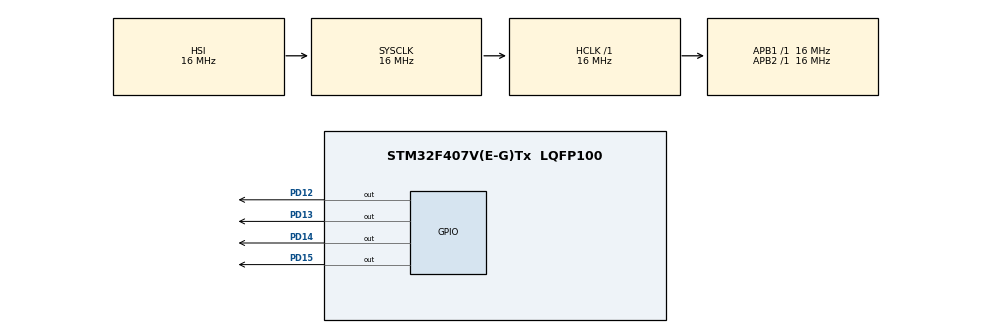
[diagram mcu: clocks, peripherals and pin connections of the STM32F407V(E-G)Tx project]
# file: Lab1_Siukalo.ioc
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Mcu.Family=STM32F4
Mcu.Name=STM32F407V(E-G)Tx
Mcu.Package=LQFP100
NVIC.PriorityGroup=NVIC_PRIORITYGROUP_4
PD12.Signal=GPIO_Output
PD13.Signal=GPIO_Output
PD14.Signal=GPIO_Output
PD15.Signal=GPIO_Output
ProjectManager.HeapSize=0x200
ProjectManager.StackSize=0x400
ProjectManager.TargetToolchain=STM32CubeIDE
RCC.AHBFreq_Value=16000000
RCC.APB1Freq_Value=16000000
RCC.APB2Freq_Value=16000000
RCC.CortexFreq_Value=16000000
RCC.HSE_VALUE=25000000
RCC.HSI_VALUE=16000000
RCC.LSE_VALUE=32768
RCC.SYSCLKFreq_VALUE=16000000
RCC.VCOOutputFreq_Value=192000000
board=custom

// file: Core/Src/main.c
/* USER CODE BEGIN Header */
/**
  ******************************************************************************
  * @file           : main.c
  * @brief          : Main program body
  ******************************************************************************
  * @attention
  *
  * Copyright (c) 2025 STMicroelectronics.
  * All rights reserved.
  *
  * This software is licensed under terms that can be found in the LICENSE file
  * in the root directory of this software component.
  * If no LICENSE file comes with this software, it is provided AS-IS.
  *
  ******************************************************************************
  */
/* USER CODE END Header */
#include "main.h"

void SystemClock_Config(void);
static void MX_GPIO_Init(void);

int main(void)
{

  /* MCU Configuration--------------------------------------------------------*/

  /* Reset of all peripherals, Initializes the Flash interface and the Systick. */
  HAL_Init();

  /* Configure the system clock */
  SystemClock_Config();

  /* Initialize all configured peripherals */
  MX_GPIO_Init();

  /* Infinite loop */
  while (1)
  {

    /* USER CODE BEGIN 3 */
		HAL_GPIO_WritePin(GPIOD, GPIO_PIN_12, GPIO_PIN_SET);
		HAL_Delay(150);
		HAL_GPIO_WritePin(GPIOD, GPIO_PIN_13, GPIO_PIN_SET);
		HAL_Delay(150);
		HAL_GPIO_WritePin(GPIOD, GPIO_PIN_14, GPIO_PIN_SET);
		HAL_Delay(150);
		HAL_GPIO_WritePin(GPIOD, GPIO_PIN_15, GPIO_PIN_SET);
		HAL_Delay(150);
		HAL_GPIO_WritePin(GPIOD, GPIO_PIN_12 | GPIO_PIN_13 | GPIO_PIN_14 | GPIO_PIN_15,GPIO_PIN_RESET);
		HAL_Delay(200);

		for (int i = 0; i < 3; i++) {
			HAL_GPIO_WritePin(GPIOD,GPIO_PIN_12 | GPIO_PIN_13 | GPIO_PIN_14 | GPIO_PIN_15,GPIO_PIN_SET);
			HAL_Delay(200);
			HAL_GPIO_WritePin(GPIOD,GPIO_PIN_12 | GPIO_PIN_13 | GPIO_PIN_14 | GPIO_PIN_15, GPIO_PIN_RESET);
			HAL_Delay(200);
		}
  }
  /* USER CODE END 3 */
}

void SystemClock_Config(void)
{
  RCC_OscInitTypeDef RCC_OscInitStruct = {0};
  RCC_ClkInitTypeDef RCC_ClkInitStruct = {0};

  /** Configure the main internal regulator output voltage
  */
  __HAL_RCC_PWR_CLK_ENABLE();
  __HAL_PWR_VOLTAGESCALING_CONFIG(PWR_REGULATOR_VOLTAGE_SCALE1);

  /** Initializes the RCC Oscillators according to the specified parameters
  * in the RCC_OscInitTypeDef structure.
  */
  RCC_OscInitStruct.OscillatorType = RCC_OSCILLATORTYPE_HSI;
  RCC_OscInitStruct.HSIState = RCC_HSI_ON;
  RCC_OscInitStruct.HSICalibrationValue = RCC_HSICALIBRATION_DEFAULT;
  RCC_OscInitStruct.PLL.PLLState = RCC_PLL_NONE;
  if (HAL_RCC_OscConfig(&RCC_OscInitStruct) != HAL_OK)
  {
    Error_Handler();
  }

  /** Initializes the CPU, AHB and APB buses clocks
  */
  RCC_ClkInitStruct.ClockType = RCC_CLOCKTYPE_HCLK|RCC_CLOCKTYPE_SYSCLK
                              |RCC_CLOCKTYPE_PCLK1|RCC_CLOCKTYPE_PCLK2;
  RCC_ClkInitStruct.SYSCLKSource = RCC_SYSCLKSOURCE_HSI;
  RCC_ClkInitStruct.AHBCLKDivider = RCC_SYSCLK_DIV1;
  RCC_ClkInitStruct.APB1CLKDivider = RCC_HCLK_DIV1;
  RCC_ClkInitStruct.APB2CLKDivider = RCC_HCLK_DIV1;

  if (HAL_RCC_ClockConfig(&RCC_ClkInitStruct, FLASH_LATENCY_0) != HAL_OK)
  {
    Error_Handler();
  }
}

static void MX_GPIO_Init(void)
{
  GPIO_InitTypeDef GPIO_InitStruct = {0};

  /* GPIO Ports Clock Enable */
  __HAL_RCC_GPIOD_CLK_ENABLE();

  /*Configure GPIO pin Output Level */
  HAL_GPIO_WritePin(GPIOD, GPIO_PIN_12|GPIO_PIN_13|GPIO_PIN_14|GPIO_PIN_15, GPIO_PIN_RESET);

  /*Configure GPIO pins : PD12 PD13 PD14 PD15 */
  GPIO_InitStruct.Pin = GPIO_PIN_12|GPIO_PIN_13|GPIO_PIN_14|GPIO_PIN_15;
  GPIO_InitStruct.Mode = GPIO_MODE_OUTPUT_PP;
  GPIO_InitStruct.Pull = GPIO_NOPULL;
  GPIO_InitStruct.Speed = GPIO_SPEED_FREQ_LOW;
  HAL_GPIO_Init(GPIOD, &GPIO_InitStruct);

}

void Error_Handler(void)
{
  __disable_irq();
  while (1)
  {
  }
}
